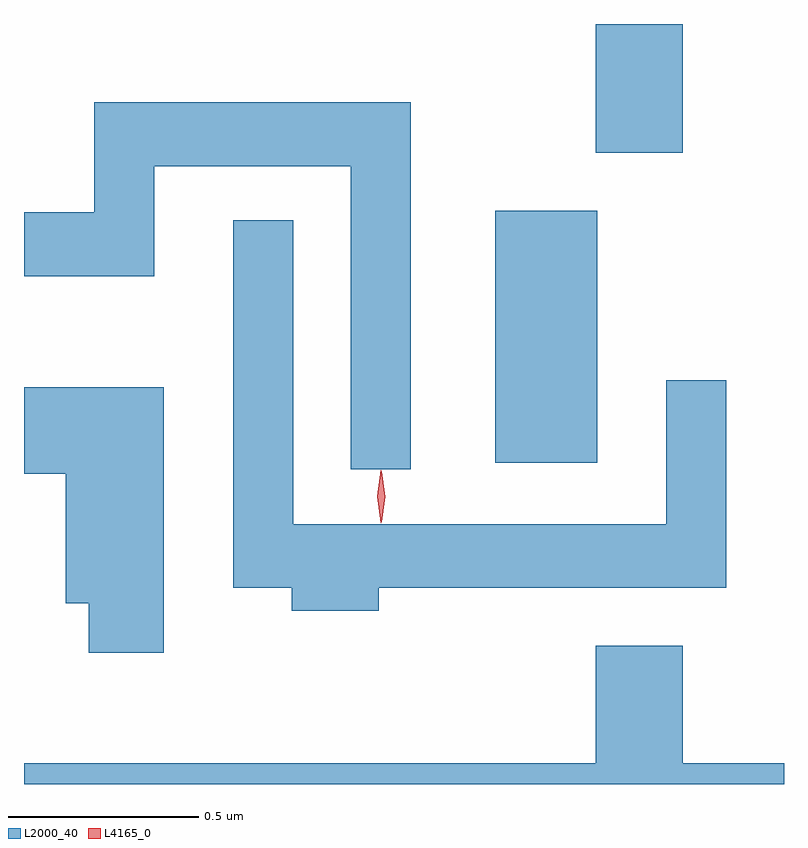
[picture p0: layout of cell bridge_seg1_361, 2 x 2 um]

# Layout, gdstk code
import gdstk
lib = gdstk.Library(unit=1e-6, precision=1e-09)
def R(c, l, rs):  # rectangles x0, y0, x1, y1
    for r in rs: c.add(gdstk.rectangle(r[:2], r[2:], *l))
def P(c, l, *ps):  # polygons
    for p in ps: c.add(gdstk.Polygon(p, *l))
L2000_40 = (2000, 40)
L4165_0 = (4165, 0)

bridge_seg1_361 = lib.new_cell('bridge_seg1_361')
R(bridge_seg1_361, L2000_40, [(943.046,873.996,943.314,874.659), (943.311,874.811,943.539,875.15)])
P(bridge_seg1_361, L2000_40, [(942.824,874.944),(941.991,874.944),(941.991,874.654),(941.806,874.654),(941.806,874.486),(942.149,874.486),(942.149,874.776),(942.666,874.776),(942.666,873.978),(942.824,873.978)],
  [(942.739,873.666),(943.654,873.666),(943.654,874.213),(943.496,874.213),(943.496,873.834),(942.514,873.834),(942.514,874.633),(942.356,874.633),(942.356,873.666),(942.511,873.666),(942.511,873.606),(942.739,873.606)],
  [(942.174,874.194),(941.806,874.194),(941.806,873.966),(941.916,873.966),(941.916,873.626),(941.976,873.626),(941.976,873.496),(942.174,873.496)],
  [(943.806,873.204),(943.539,873.204),(943.539,873.514),(943.311,873.514),(943.311,873.204),(941.806,873.204),(941.806,873.15),(943.806,873.15)])
P(bridge_seg1_361, L4165_0, [(942.746,873.84),(942.746,873.84),(942.736,873.906),(942.746,873.972),(942.746,873.973),(942.747,873.972),(942.756,873.906),(942.747,873.84)],
  [(942.745,873.837),(942.745,873.837),(942.735,873.907),(942.745,873.976),(942.745,873.976),(942.746,873.976),(942.755,873.907),(942.746,873.837)])

lib.write_gds('bridge_seg1_361.gds')
